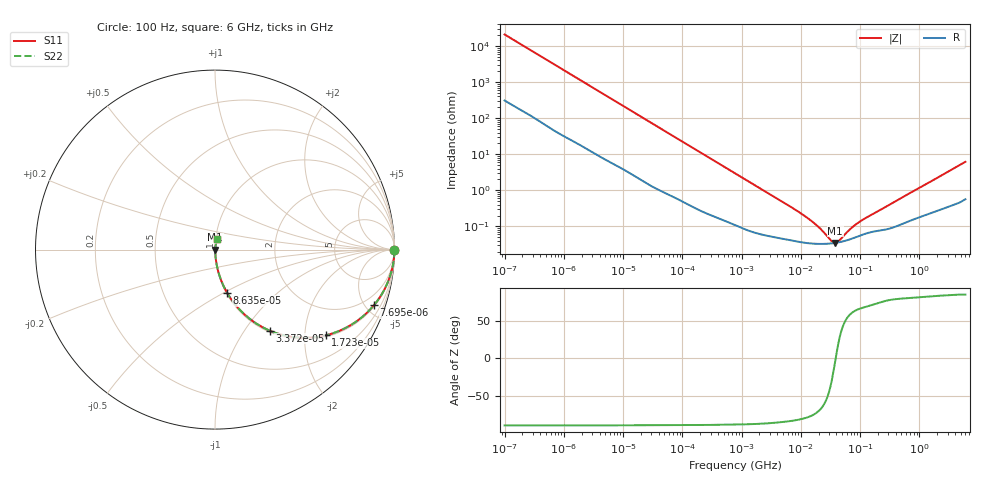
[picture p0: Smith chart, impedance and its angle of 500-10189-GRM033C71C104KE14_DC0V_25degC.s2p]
!Murata Part Number: GRM033C71C104KE14
!These Parameters are Measured in Series Mode Connection
!  o--ll--o
!Port1  Port2
!  o------o
!Operation Temp=25[degC], DC Bias Voltage=0[V]
!Freq. Start=100[Hz] Stop=6[GHz], 401[Steps]
!Data Generated on Nov 6, 2018
# Hz S RI R 50
!Freq.(Hz) S11(Real) S11(Imag) S21(Real) S21(Imag) S12(Real) S12(Imag) S22(Real) S22(Imag)
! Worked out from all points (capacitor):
!   401 points, 100 Hz to 6 GHz, reference 50 ohm
!   read as one part in series: C = 76 nF near 109.4 Hz
!   lowest |Z| = 34.9 mohm at 38.09 MHz (marker M1)
!   series resonance near 38.76 MHz, so ESL is about 220 pH
!   S11 on the Smith chart (normalised r, x): 100 Hz: open; 7.695 kHz: 1.10, -5.66; 17.23 kHz: 1.04, -2.55; 33.72 kHz: 1.02, -1.31; 86.35 kHz: 1.01, -0.52; 6 GHz: 1.01, +0.12
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100  0.9999 -0.00479  9.37e-05 0.00479  9.37e-05 0.00479  0.9999 -0.00479
626.9898  0.9987 -0.0294  0.0013 0.0294  0.0013 0.0294  0.9987 -0.0294
2008.354  0.9899 -0.0924  0.0101 0.0924  0.0101 0.0924  0.9899 -0.0924
4496.319  0.9557 -0.1977  0.0443 0.1977  0.0443 0.1977  0.9557 -0.1977
7694.877  0.8849 -0.3107  0.1151 0.3107  0.1151 0.3107  0.8849 -0.3107
11513.57  0.7791 -0.4061  0.2209 0.4061  0.2209 0.4061  0.7791 -0.4061
17227.35  0.6176 -0.4772  0.3824 0.4772  0.3824 0.4772  0.6176 -0.4772
33720.9  0.3043 -0.4512  0.6957 0.4512  0.6957 0.4512  0.3043 -0.4512
40334.87  0.2362 -0.4156  0.7638 0.4156  0.7638 0.4156  0.2362 -0.4156
86347.96  0.0674 -0.2403  0.9326 0.2403  0.9326 0.2403  0.0674 -0.2403
221108.3  0.0128 -0.1008  0.9872 0.1008  0.9872 0.1008  0.0128 -0.1008
774596.7  0.00197 -0.0297  0.998 0.0297  0.998 0.0297  0.00197 -0.0297
6948629  0.000417 -0.00336  0.9996 0.00336  0.9996 0.00336  0.000417 -0.00336
1.555665e7  0.000335 -0.00132  0.9997 0.00132  0.9997 0.00132  0.000335 -0.00132
2.128304e7  0.000327 -0.000804  0.9997 0.000804  0.9997 0.000804  0.000327 -0.000804
3.330331e7  0.000338 -0.000191  0.9997 0.000191  0.9997 0.000191  0.000338 -0.000191
3.80911e7  0.000348 -2.15e-05  0.9997 2.15e-05  0.9997 2.15e-05  0.000348 -2.15e-05
4.35672e7  0.000361 0.000146  0.9996 -0.000146  0.9996 -0.000146  0.000361 0.000146
6.817316e7  0.00044 0.000718  0.9996 -0.000718  0.9996 -0.000718  0.00044 0.000718
9.326766e7  0.000532 0.00115  0.9995 -0.00115  0.9995 -0.00115  0.000532 0.00115
3.124326e8  0.000881 0.00388  0.9991 -0.00388  0.9991 -0.00388  0.000881 0.00388
6e9  0.00931 0.0605  0.9907 -0.0605  0.9907 -0.0605  0.00931 0.0605
